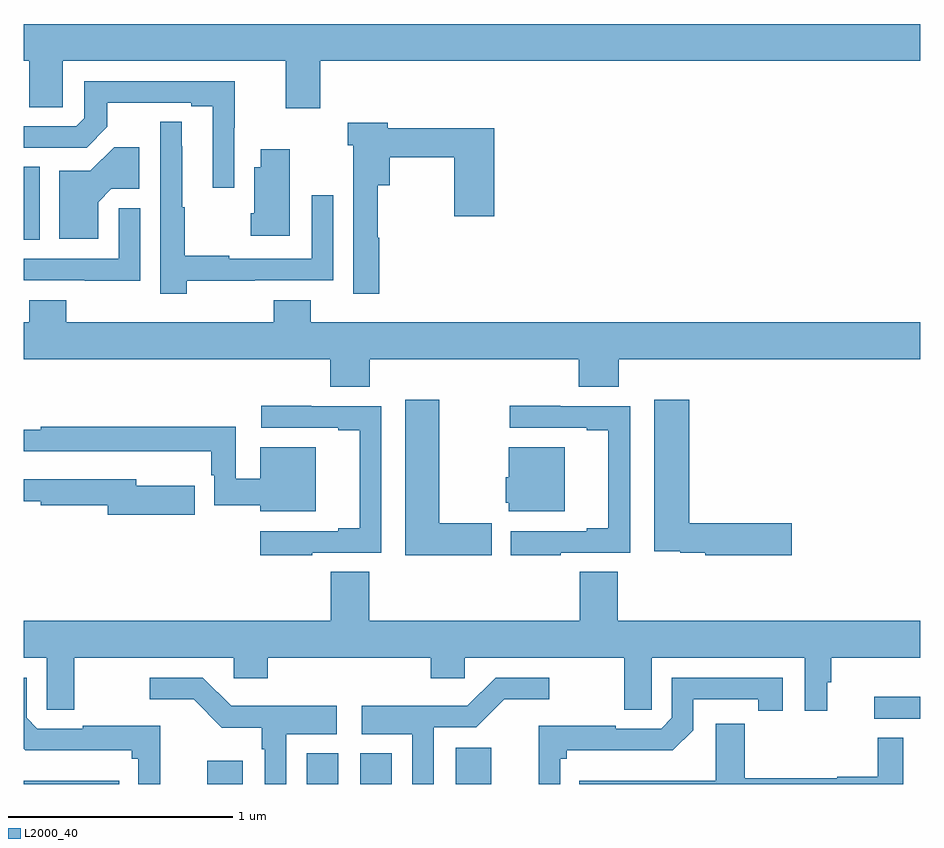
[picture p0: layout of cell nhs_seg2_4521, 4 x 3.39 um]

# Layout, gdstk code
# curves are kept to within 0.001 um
import gdstk
lib = gdstk.Library(unit=1e-6, precision=1e-09)
def R(c, l, rs):  # rectangles x0, y0, x1, y1
    for r in rs: c.add(gdstk.rectangle(r[:2], r[2:], *l))
def P(c, l, *ps):  # polygons
    for p in ps: c.add(gdstk.Polygon(p, *l))
L2000_40 = (2000, 40)

nhs_seg2_4521 = lib.new_cell('nhs_seg2_4521')
R(nhs_seg2_4521, L2000_40, [(357,585.8,357.425,585.814), (357.818,585.8,357.976,585.904), (358.262,585.8,358.402,585.937), (358.502,585.8,358.642,585.937), (358.928,585.8,359.086,585.961), (360.795,586.092,361,586.189), (357,588.229,357.07,588.554)])
P(nhs_seg2_4521, L2000_40, [(357,589.028),(357.023,589.028),(357.023,588.82),(357.174,588.82),(357.174,589.028),(358.169,589.028),(358.169,588.816),(358.322,588.816),(358.322,589.028),(361,589.028),(361,589.192),(357,589.192)],
  [(357.939,588.73),(357.942,588.73),(357.942,588.936),(357.27,588.936),(357.27,588.771),(357.234,588.735),(357,588.735),(357,588.639),(357.28,588.64),(357.373,588.733),(357.373,588.84),(357.746,588.84),(357.746,588.825),(357.842,588.825),(357.842,588.462),(357.939,588.462)],
  [(357.727,588.047),(358.031,588.047),(358.031,588.048),(358.38,588.048),(358.38,588.427),(358.284,588.427),(358.284,588.144),(357.917,588.144),(357.917,588.157),(357.718,588.157),(357.718,588.374),(357.706,588.374),(357.706,588.647),(357.705,588.647),(357.705,588.755),(357.609,588.755),(357.609,587.988),(357.727,587.988)],
  [(358.586,588.239),(358.579,588.239),(358.579,588.473),(358.632,588.473),(358.632,588.598),(358.921,588.598),(358.921,588.333),(359.099,588.333),(359.099,588.727),(358.624,588.727),(358.624,588.752),(358.445,588.752),(358.445,588.651),(358.47,588.651),(358.47,587.988),(358.586,587.988)],
  [(357.331,588.397),(357.39,588.456),(357.514,588.456),(357.514,588.643),(357.403,588.643),(357.297,588.537),(357.158,588.537),(357.158,588.233),(357.331,588.233)],
  [(358.186,588.634),(358.058,588.634),(358.058,588.553),(358.028,588.553),(358.028,588.348),(358.013,588.348),(358.013,588.248),(358.186,588.248)],
  [(357.519,588.369),(357.423,588.369),(357.423,588.144),(357,588.144),(357,588.048),(357.271,588.048),(357.271,588.047),(357.519,588.047)],
  [(358.544,587.696),(359.477,587.696),(359.477,587.572),(359.654,587.572),(359.654,587.696),(361,587.696),(361,587.86),(358.28,587.86),(358.28,587.959),(358.115,587.959),(358.115,587.86),(357.188,587.86),(357.188,587.959),(357.023,587.959),(357.023,587.86),(357,587.86),(357,587.696),(358.367,587.696),(358.367,587.572),(358.544,587.572)],
  [(360.427,586.964),(359.969,586.964),(359.969,587.515),(359.813,587.515),(359.813,586.838),(359.93,586.838),(359.93,586.831),(360.042,586.831),(360.042,586.822),(360.427,586.822)],
  [(359.088,586.964),(358.854,586.964),(358.854,587.515),(358.703,587.515),(358.703,586.822),(359.088,586.822)],
  [(358.286,586.833),(358.596,586.833),(358.596,587.487),(358.283,587.487),(358.283,587.489),(358.059,587.489),(358.059,587.391),(358.403,587.391),(358.403,587.379),(358.499,587.379),(358.499,586.942),(358.403,586.942),(358.403,586.929),(358.056,586.929),(358.056,586.821),(358.286,586.821)],
  [(359.396,586.833),(359.706,586.833),(359.706,587.487),(359.393,587.487),(359.393,587.489),(359.169,587.489),(359.169,587.391),(359.513,587.391),(359.513,587.379),(359.609,587.379),(359.609,586.942),(359.513,586.942),(359.513,586.929),(359.173,586.929),(359.173,586.821),(359.396,586.821)],
  [(358.303,587.302),(358.055,587.302),(358.055,587.163),(357.945,587.163),(357.945,587.395),(357.076,587.395),(357.076,587.382),(357,587.382),(357,587.286),(357.598,587.286),(357.598,587.285),(357.837,587.285),(357.837,587.178),(357.849,587.178),(357.849,587.044),(358.055,587.044),(358.055,587.018),(358.303,587.018)],
  [(359.413,587.302),(359.165,587.302),(359.165,587.169),(359.15,587.169),(359.15,587.055),(359.165,587.055),(359.165,587.018),(359.413,587.018)],
  [(357.763,587.131),(357.502,587.131),(357.502,587.16),(357,587.16),(357,587.063),(357.076,587.063),(357.076,587.044),(357.374,587.044),(357.374,587.002),(357.763,587.002)],
  [(360.586,586.254),(360.604,586.254),(360.604,586.364),(361,586.364),(361,586.528),(359.651,586.528),(359.651,586.748),(359.48,586.748),(359.48,586.528),(358.541,586.528),(358.541,586.748),(358.37,586.748),(358.37,586.528),(357,586.528),(357,586.364),(357.102,586.364),(357.102,586.132),(357.225,586.132),(357.225,586.364),(357.936,586.364),(357.936,586.271),(358.088,586.271),(358.088,586.364),(358.817,586.364),(358.817,586.271),(358.968,586.271),(358.968,586.364),(359.68,586.364),(359.68,586.132),(359.802,586.132),(359.802,586.364),(360.485,586.364),(360.485,586.128),(360.586,586.128)],
  [(359.394,585.912),(359.422,585.912),(359.422,585.95),(359.897,585.95),(359.988,586.041),(359.988,586.179),(360.278,586.179),(360.278,586.128),(360.388,586.128),(360.388,586.275),(359.892,586.275),(359.892,586.095),(359.844,586.047),(359.641,586.047),(359.641,586.06),(359.297,586.06),(359.297,585.8),(359.394,585.8)],
  [(358.83,586.053),(359.019,586.053),(359.144,586.178),(359.344,586.178),(359.344,586.275),(359.105,586.275),(358.979,586.149),(358.509,586.15),(358.509,586.022),(358.734,586.022),(358.734,585.8),(358.83,585.8)],
  [(358.17,586.022),(358.396,586.022),(358.396,586.15),(357.925,586.149),(357.799,586.275),(357.561,586.275),(357.561,586.178),(357.758,586.178),(357.884,586.052),(358.062,586.052),(358.062,585.956),(358.074,585.956),(358.074,585.8),(358.17,585.8)],
  [(357.608,586.06),(357.263,586.06),(357.263,586.047),(357.06,586.047),(357.012,586.095),(357.012,586.275),(357,586.275),(357,585.957),(357.007,585.95),(357.482,585.95),(357.482,585.912),(357.51,585.912),(357.51,585.8),(357.608,585.8)],
  [(360.924,586.007),(360.812,586.007),(360.812,585.833),(360.631,585.833),(360.631,585.826),(360.217,585.826),(360.217,586.069),(360.089,586.069),(360.089,585.814),(359.479,585.814),(359.479,585.8),(360.924,585.8)])

lib.write_gds('nhs_seg2_4521.gds')
